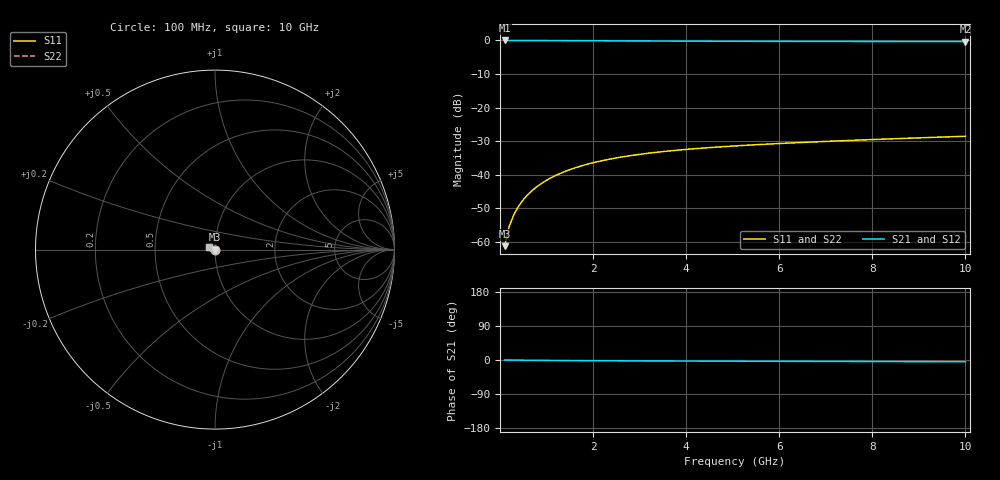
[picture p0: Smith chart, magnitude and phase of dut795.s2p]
! Touchstone file exported from HFSS 2024.1.0
!  File:  C:/UserFiles/LocalFiles/RDL_TSV_Batchsim/temp_TSV1_795_1779875982.aedt
!  Generated:  06:05:36 PM May 27, 2026
!  Design:  TSV1
!  Project:  temp_TSV1_795_1779875982
!  Setup:  Setup1
!  Solution:  Sweep
! Variables:
!  dtsv = 8.65um
!  hbump = 3um
!  htsv = 68.94um
!  lrdl = 252.1521522um
!  p = 40
!  p1 = 55.52um
!  t = 500um
!  trdl = 3um
!  wrdl = 24.89489489um
# GHz S MA R 50.000000
! Terminal data exported
! Port[1] = TSV22_T1
! Port[2] = TSV22_T2
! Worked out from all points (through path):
!   100 points, 100 MHz to 10 GHz, reference 50 ohm
!   highest |S21| = 0.00 dB at 100 MHz (marker M1); lowest = -0.3 dB at 10 GHz (marker M2)
!   lowest |S11| = -61.2 dB at 100 MHz (marker M3), VSWR 1.00, Z = 50 - j0.0858 ohm
!   |S11| at or under -10 dB: start of sweep to end of sweep
!   |S22| runs from -61.2 to -28.5 dB; largest |S21 - S12| = 4.8e-15
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0.1  0.0008697 -80.4  0.9998 -0.1  0.9998 -0.1  0.0008697 -80.4
! Gamma 0 0 0 0
! Port Impedance 50 0 50 0
0.2  0.001721 -88.2  0.9997 -0.2  0.9997 -0.2  0.001721 -88.2
0.3  0.002576 -92.3  0.9995 -0.3  0.9995 -0.3  0.002576 -92.3
0.4  0.003426 -95.4  0.9993 -0.4  0.9993 -0.4  0.003426 -95.4
0.5  0.004268 -98.1  0.999 -0.5  0.999 -0.5  0.004268 -98.1
0.6  0.005101 -100.7  0.9986 -0.6  0.9986 -0.6  0.005101 -100.7
0.7  0.005923 -103.0  0.9982 -0.7  0.9982 -0.7  0.005923 -103.0
0.8  0.006733 -105.3  0.9978 -0.8  0.9978 -0.8  0.006733 -105.3
0.9  0.007529 -107.5  0.9973 -0.9  0.9973 -0.9  0.007529 -107.5
1.1  0.009075 -111.8  0.9962 -1.1  0.9962 -1.1  0.009075 -111.8
1.4  0.01127 -117.9  0.9942 -1.4  0.9942 -1.4  0.01127 -117.9
1.6  0.01264 -121.7  0.9929 -1.5  0.9929 -1.5  0.01264 -121.7
1.8  0.01393 -125.4  0.9914 -1.7  0.9914 -1.7  0.01393 -125.4
2.1  0.01573 -130.7  0.9892 -1.9  0.9892 -1.9  0.01573 -130.7
2.5  0.01788 -137.3  0.9863 -2.1  0.9863 -2.1  0.01788 -137.3
2.9  0.01977 -143.3  0.9835 -2.3  0.9835 -2.3  0.01977 -143.3
3.4  0.02182 -150.2  0.9804 -2.5  0.9804 -2.5  0.02182 -150.2
4.2  0.02456 -159.9  0.9761 -2.8  0.9761 -2.8  0.02456 -159.9
5.1  0.02709 -169.2  0.9723 -3.1  0.9723 -3.1  0.02709 -169.2
6.7  0.03082 177.4  0.9676 -3.6  0.9676 -3.6  0.03082 177.4
8.4  0.03435 166.0  0.9643 -4.2  0.9643 -4.2  0.03435 166.0
10  0.03756 157.2  0.9622 -4.7  0.9622 -4.7  0.03756 157.2
